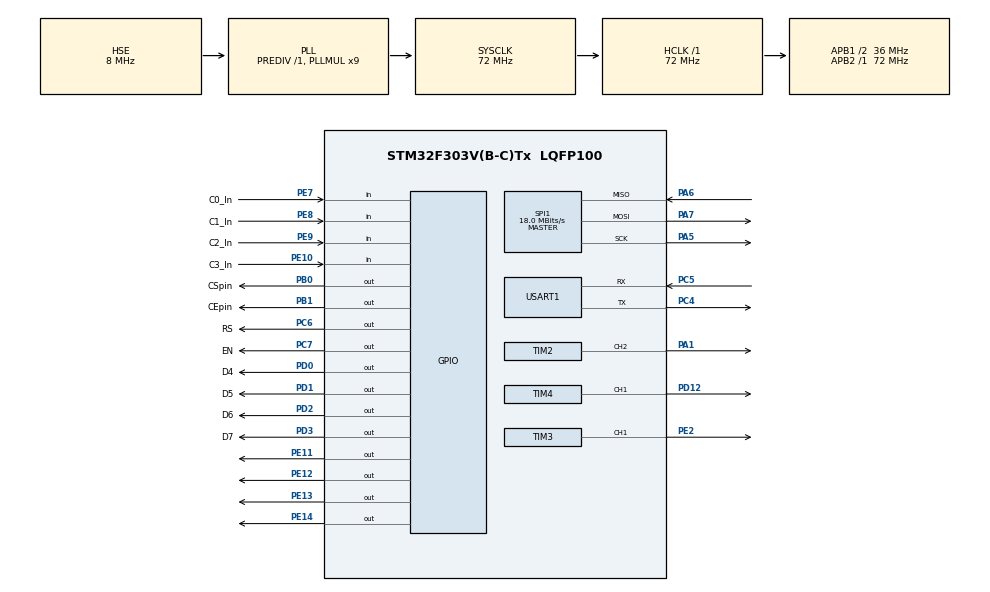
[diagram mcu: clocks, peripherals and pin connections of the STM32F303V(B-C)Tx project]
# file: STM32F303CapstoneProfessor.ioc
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Mcu.Family=STM32F3
Mcu.Name=STM32F303V(B-C)Tx
Mcu.Package=LQFP100
NVIC.PriorityGroup=NVIC_PRIORITYGROUP_0
PA1.Signal=S_TIM2_CH2
PA5.Mode=Full_Duplex_Master
PA5.Signal=SPI1_SCK
PA6.Mode=Full_Duplex_Master
PA6.Signal=SPI1_MISO
PA7.Mode=Full_Duplex_Master
PA7.Signal=SPI1_MOSI
PB0.GPIO_Label=CSpin
PB0.Signal=GPIO_Output
PB1.GPIO_Label=CEpin
PB1.Signal=GPIO_Output
PC4.Mode=Asynchronous
PC4.Signal=USART1_TX
PC5.Mode=Asynchronous
PC5.Signal=USART1_RX
PC6.GPIO_Label=RS
PC6.Signal=GPIO_Output
PC7.GPIO_Label=EN
PC7.Signal=GPIO_Output
PD0.GPIO_Label=D4
PD0.Signal=GPIO_Output
PD1.GPIO_Label=D5
PD1.Signal=GPIO_Output
PD12.Signal=S_TIM4_CH1
PD2.GPIO_Label=D6
PD2.Signal=GPIO_Output
PD3.GPIO_Label=D7
PD3.Signal=GPIO_Output
PE10.GPIO_Label=C3_In
PE10.GPIO_Mode=GPIO_MODE_INPUT
PE10.GPIO_PuPd=GPIO_PULLUP
PE10.Signal=GPIO_Input
PE11.Signal=GPIO_Output
PE12.Signal=GPIO_Output
PE13.Signal=GPIO_Output
PE14.Signal=GPIO_Output
PE2.Signal=S_TIM3_CH1
PE7.GPIO_Label=C0_In
PE7.GPIO_Mode=GPIO_MODE_INPUT
PE7.GPIO_PuPd=GPIO_PULLUP
PE7.Signal=GPIO_Input
PE8.GPIO_Label=C1_In
PE8.GPIO_Mode=GPIO_MODE_INPUT
PE8.GPIO_PuPd=GPIO_PULLUP
PE8.Signal=GPIO_Input
PE9.GPIO_Label=C2_In
PE9.GPIO_Mode=GPIO_MODE_INPUT
PE9.GPIO_PuPd=GPIO_PULLUP
PE9.Signal=GPIO_Input
PF0-OSC_IN.Mode=HSE-External-Oscillator
PF0-OSC_IN.Signal=RCC_OSC_IN
PF1-OSC_OUT.Mode=HSE-External-Oscillator
PF1-OSC_OUT.Signal=RCC_OSC_OUT
ProjectManager.HeapSize=0x200
ProjectManager.StackSize=0x400
ProjectManager.TargetToolchain=STM32CubeIDE
RCC.AHBFreq_Value=72000000
RCC.APB1CLKDivider=RCC_HCLK_DIV2
RCC.APB1Freq_Value=36000000
RCC.APB1TimFreq_Value=72000000
RCC.APB2Freq_Value=72000000
RCC.APB2TimFreq_Value=72000000
RCC.CortexFreq_Value=72000000
RCC.HCLKFreq_Value=72000000
RCC.HSE_VALUE=8000000
RCC.HSI_VALUE=8000000
RCC.LSE_VALUE=32768
RCC.PLLMUL=RCC_PLL_MUL9
RCC.PLLSourceVirtual=RCC_PLLSOURCE_HSE
RCC.SYSCLKFreq_VALUE=72000000
RCC.SYSCLKSourceVirtual=RCC_SYSCLKSOURCE_PLLCLK
RCC.USBFreq_Value=72000000
SH.S_TIM2_CH2.0=TIM2_CH2,PWM Generation2 CH2
SH.S_TIM3_CH1.0=TIM3_CH1,PWM Generation1 CH1
SH.S_TIM4_CH1.0=TIM4_CH1,PWM Generation1 CH1
SPI1.BaudRatePrescaler=SPI_BAUDRATEPRESCALER_4
SPI1.CalculateBaudRate=18.0 MBits/s
SPI1.DataSize=SPI_DATASIZE_8BIT
SPI1.Direction=SPI_DIRECTION_2LINES
SPI1.Mode=SPI_MODE_MASTER
SPI1.VirtualType=VM_MASTER
TIM15.Period=0xffff-1
TIM15.Prescaler=72-1
TIM2.Channel-PWM\ Generation2\ CH2=TIM_CHANNEL_2
TIM3.Channel-PWM\ Generation1\ CH1=TIM_CHANNEL_1
TIM4.Channel-PWM\ Generation1\ CH1=TIM_CHANNEL_1
USART1.VirtualMode-Asynchronous=VM_ASYNC
VP_TIM15_VS_ClockSourceINT.Mode=Internal
VP_TIM2_VS_ClockSourceINT.Mode=Internal
VP_TIM3_VS_ClockSourceINT.Mode=Internal
VP_TIM4_VS_ClockSourceINT.Mode=Internal
board=STM32F3DISCOVERY

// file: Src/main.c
/* USER CODE BEGIN Header */
/**
 ******************************************************************************
 * @file           : main.c Professor Unit
 * @brief          : Main program body
 ******************************************************************************
 * @attention
 *
 * <h2><center>&copy; Copyright (c) 2020 STMicroelectronics.
 * All rights reserved.</center></h2>
 *
 * This software component is licensed by ST under BSD 3-Clause license,
 * the "License"; You may not use this file except in compliance with the
 * License. You may obtain a copy of the License at:
 *                        opensource.org/licenses/BSD-3-Clause
 *
 ******************************************************************************
 */
/* USER CODE END Header */

#include "main.h"

/* USER CODE BEGIN Includes */
#include "stm32f3xx_hal.h"
#include "lcd.h"
#include "keypad.h"
#include "MY_NRF24.h"
#include <string.h>
#include <stdbool.h>
/* USER CODE END Includes */

SPI_HandleTypeDef hspi1;

TIM_HandleTypeDef htim2;
TIM_HandleTypeDef htim3;
TIM_HandleTypeDef htim4;
TIM_HandleTypeDef htim15;

UART_HandleTypeDef huart1;

void SystemClock_Config(void);
static void MX_GPIO_Init(void);
static void MX_SPI1_Init(void);
static void MX_TIM2_Init(void);
static void MX_TIM3_Init(void);
static void MX_TIM4_Init(void);
static void MX_TIM15_Init(void);
static void MX_USART1_UART_Init(void);

/* USER CODE BEGIN 0 */
void delay_us (uint16_t us)
{
	__HAL_TIM_SET_COUNTER(&htim15,0);  // set the counter value a 0
	while (__HAL_TIM_GET_COUNTER(&htim15) < us);  // wait for the counter to reach the us input in the parameter
}
/* USER CODE END 0 */

int main(void)
{
	/* USER CODE BEGIN 1 */
	uint8_t returnKey = 16;
	uint8_t menuState = 1;
	uint8_t dutyCycles[3];

	uint32_t ringDelay = 0;
	bool set = false;

	uint64_t RxPipeAddr = 0x11223344AA;
	uint64_t TxPipeAddr = 0x99887766BB;
	char RxData[34];
	char TxData[32];

	char userStatus[] = "Available";
	char userName[19] = { 0 };
	char profResponses[4][19] = {"First", "Second", "Third", "Fourth"};
	char alphabets[2][27] = { { 'a', 'b', 'c', 'd', 'e', 'f', 'g', 'h', 'i', 'j', 'k', 'l', 'm', 'n', 'o', 'p', 'q', 'r', 's', 't', 'u', 'v','w', 'x', 'y', 'z', ' ' },
			{ 'A', 'B', 'C', 'D', 'E', 'F', 'G', 'H', 'I','J', 'K', 'L', 'M', 'N', 'O', 'P', 'Q', 'R', 'S', 'T', 'U', 'V', 'W', 'X', 'Y', 'Z', ' ' } };
	/* USER CODE END 1 */

	/* MCU Configuration--------------------------------------------------------*/

	/* Reset of all peripherals, Initializes the Flash interface and the Systick. */
	HAL_Init();

	/* Configure the system clock */
	SystemClock_Config();

	/* Initialize all configured peripherals */
	MX_GPIO_Init();
	MX_SPI1_Init();
	MX_TIM2_Init();
	MX_TIM3_Init();
	MX_TIM4_Init();
	MX_TIM15_Init();
	MX_USART1_UART_Init();
	/* USER CODE BEGIN 2 */
	NRF24_begin(GPIOB, CSpin_Pin, CEpin_Pin, hspi1);
	nrf24_DebugUART_Init(huart1);
	printRadioSettings();
	NRF24_setChannel(44);
	NRF24_setPayloadSize(32);
	NRF24_openReadingPipe(1, RxPipeAddr);
	NRF24_openWritingPipe(TxPipeAddr);
	//NRF24_setAutoAck(true);
	//NRF24_enableDynamicPayloads();
	//NRF24_enableAckPayload();
	//NRF24_startListening();

	HAL_TIM_Base_Start(&htim15);

	Lcd_PortType ports[] = {D4_GPIO_Port, D5_GPIO_Port, D6_GPIO_Port, D7_GPIO_Port};
	Lcd_PinType pins[] = {D4_Pin, D5_Pin, D6_Pin, D7_Pin};
	Lcd_HandleTypeDef lcd = Lcd_create(ports, pins, RS_GPIO_Port, RS_Pin, EN_GPIO_Port, EN_Pin, LCD_4_BIT_MODE);

	void resetAll()
	{
		ringDelay = 0;
		Lcd_clear(&lcd);
		set = false;
	}

	void txData()
	{
		NRF24_stopListening();

		if(NRF24_write(TxData, 32))
		{
			HAL_UART_Transmit(&huart1, (uint8_t *)"\r\nTransmitted Successfully!\r\n", strlen("\r\nTransmitted Successfully!\r\n"), 10);

			HAL_UART_Transmit(&huart1, (uint8_t *)TxData, strlen(TxData), 10);
		}else
		{
			HAL_UART_Transmit(&huart1, (uint8_t *)"\r\nTransmitted Un-successfully!\r\n", strlen("\r\nTransmitted Un-successfully!\r\n"), 10);
		}
	}

	void responseScreen()
	{
		while(/*HAL_GetTick() < (ringDelay + 10000)*/ returnKey != 0 && returnKey != 1 && returnKey != 2)
		{
			if(!set){
				Lcd_string(&lcd, "1.");
				Lcd_string(&lcd, profResponses[0]);
				Lcd_cursor(&lcd, 1, 0);
				Lcd_string(&lcd, "2.");
				Lcd_string(&lcd, profResponses[1]);
				Lcd_cursor(&lcd, 2, 0);
				Lcd_string(&lcd, "3.");
				Lcd_string(&lcd, profResponses[2]);
				//Lcd_cursor(&lcd, 3, 0);
				//Lcd_string(&lcd, "4.Dismiss");
				set = true;
			}

			returnKey = keypadRead();

			switch (returnKey)
			{
			case 0:
				strcpy(TxData, profResponses[0]);
				txData();
				break;

			case 1:
				strcpy(TxData, profResponses[1]);
				txData();
				break;

			case 2:
				strcpy(TxData, profResponses[2]);
				txData();
				break;

			default:
				//Lcd_string(&lcd, "Wrong");
				break;
			}
		}
		resetAll();
	}

	void rxData()
	{
		NRF24_startListening();

		if(NRF24_available())
		{
			memset(RxData, 0, 34);
			NRF24_read(RxData, 32);

			RxData[32] = '\r';
			RxData[32+1] = '\n';
			HAL_UART_Transmit(&huart1, (uint8_t *)RxData, 32+2, 10);

			resetAll();
			responseScreen();
		}
	}
	/* USER CODE END 2 */

	/* Infinite loop */
	/* USER CODE BEGIN WHILE */
	Lcd_clear(&lcd);
	while (1) {

		memset(TxData, 0, 32);

		//Main menu
		if (menuState == 1)
		{
			if(!set){
				Lcd_string(&lcd, "1.Settings 2.Status");
				set = true;
			}

			//resetAll();
			//responseScreen();
			rxData();

			returnKey = keypadRead();

			switch (returnKey)
			{
			case 0:
				menuState = 11;
				resetAll();
				break;

			case 1:
				menuState = 12;
				resetAll();
				break;

			default:
				//Lcd_string(&lcd, "Wrong");
				break;
			}
		}

		//Settings Menu
		if (menuState == 11)
		{
			if(!set){
				Lcd_cursor(&lcd, 0, 4);
				Lcd_string(&lcd, "Customize...");
				Lcd_cursor(&lcd, 1, 0);
				Lcd_string(&lcd, "1.Buzzer 2.Vibration");
				Lcd_cursor(&lcd, 2, 0);
				Lcd_string(&lcd, "3.LED    4.Name");
				Lcd_cursor(&lcd, 3, 0);
				Lcd_string(&lcd, "5.Call Response");
				set = true;
			}

			returnKey = keypadRead();

			switch (returnKey)
			{
			case 0:
				menuState = 111;
				resetAll();
				break;

			case 1:
				menuState = 112;
				resetAll();
				break;

			case 2:
				menuState = 113;
				resetAll();
				break;

			case 4:
				menuState = 114;
				resetAll();
				break;

			case 5:
				menuState = 115;
				resetAll();
				break;

			case 7:
				menuState = 1;
				resetAll();
				break;

			default:
				//Lcd_string(&lcd, "Wrong");
				break;
			}
		}

		//Buzzer Menu
		if (menuState == 111)
		{
			Lcd_string(&lcd, "Buzzer");

			htim2.Instance->CCR2 = dutyCycles[0]; //% Duty Cycle
			//__HAL_TIM_SET_AUTORELOAD(&htim2, dutyCycles[]);
			//__HAL_TIM_SET_AUTORELOAD(&htim2, 7200);

			returnKey = keypadRead();

			switch (returnKey) {
			case 3:
				if(dutyCycles[0] < 50)
				{
					dutyCycles[0] += 10;
					Lcd_cursor(&lcd, 2, 8);
					Lcd_int(&lcd, dutyCycles[0]);
				}else
				{
					Lcd_cursor(&lcd, 1, 1);
					Lcd_string(&lcd, "Cannot go higher!");
					Lcd_cursor(&lcd, 2, 8);
					Lcd_int(&lcd, dutyCycles[0]);
				}
				break;

			case 15:
				if (dutyCycles[0] > 0) {
					dutyCycles[0] -= 10;
					Lcd_cursor(&lcd, 2, 8);
					Lcd_int(&lcd, dutyCycles[0]);
				}else
				{
					Lcd_cursor(&lcd, 1, 2);
					Lcd_string(&lcd, "Cannot go lower!");
					Lcd_cursor(&lcd, 2, 8);
					Lcd_int(&lcd, dutyCycles[0]);
				}
				break;

			case 7:
				htim2.Instance->CCR2 = 0; //% Duty Cycle
				menuState = 11;
				resetAll();
				break;

			default:
				break;
			}
		}

		//Vibration Menu
		if (menuState == 112)
		{
			Lcd_string(&lcd, "Vibration");

			htim3.Instance->CCR1 = dutyCycles[1]; //% Duty Cycle

			returnKey = keypadRead();

			switch (returnKey) {
			case 3:
				if(dutyCycles[1] < 90)
				{
					dutyCycles[1] += 10;
					Lcd_cursor(&lcd, 2, 8);
					Lcd_int(&lcd, dutyCycles[1]);
				}else
				{
					Lcd_cursor(&lcd, 1, 1);
					Lcd_string(&lcd, "Cannot go higher!");
					Lcd_cursor(&lcd, 2, 8);
					Lcd_int(&lcd, dutyCycles[1]);
				}
				break;

			case 15:
				if (dutyCycles[1] > 0) {
					dutyCycles[1] -= 10;
					Lcd_cursor(&lcd, 2, 8);
					Lcd_int(&lcd, dutyCycles[1]);
				}else
				{
					Lcd_cursor(&lcd, 1, 2);
					Lcd_string(&lcd, "Cannot go lower!");
					Lcd_cursor(&lcd, 2, 8);
					Lcd_int(&lcd, dutyCycles[1]);
				}
				break;

			case 7:
				htim3.Instance->CCR1 = 0; //% Duty Cycle
				menuState = 11;
				resetAll();
				break;

			default:
				break;
			}
		}

		//LED Menu
		if (menuState == 113)
		{
			Lcd_string(&lcd, "LED");

			htim4.Instance->CCR1 = dutyCycles[2]; //% Duty Cycle

			returnKey = keypadRead();

			switch (returnKey) {
			case 3:
				if(dutyCycles[2] < 100)
				{
					dutyCycles[2] += 10;
					Lcd_cursor(&lcd, 2, 8);
					Lcd_int(&lcd, dutyCycles[2]);
				}else
				{
					Lcd_cursor(&lcd, 1, 1);
					Lcd_string(&lcd, "Cannot go higher!");
					Lcd_cursor(&lcd, 2, 8);
					Lcd_int(&lcd, dutyCycles[2]);
				}
				break;

			case 15:
				if (dutyCycles[2] > 0) {
					dutyCycles[2] -= 10;
					Lcd_cursor(&lcd, 2, 8);
					Lcd_int(&lcd, dutyCycles[2]);
				}else
				{
					Lcd_cursor(&lcd, 1, 2);
					Lcd_string(&lcd, "Cannot go lower!");
					Lcd_cursor(&lcd, 2, 8);
					Lcd_int(&lcd, dutyCycles[2]);
				}
				break;

			case 7:
				htim4.Instance->CCR1 = 0; //% Duty Cycle
				menuState = 11;
				resetAll();
				break;

			default:
				break;
			}
		}

		//Name Menu
		if (menuState == 114)
		{
			int8_t alphaRow = 1;
			int8_t alphaCol = 0;
			int8_t namePos = 0;
			int8_t cursorCol = 1;

			Lcd_clear(&lcd);
			Lcd_string(&lcd, "Name");
			Lcd_cursor(&lcd, 2, 1);
			Lcd_char(&lcd, alphabets[alphaRow][alphaCol]);

			do{
				Lcd_cursor(&lcd, 3, 1);
				Lcd_string(&lcd, userName);

				returnKey = keypadRead();

				switch (returnKey) {
				//Alphabet Increase
				case 1:
					alphaCol++;
					if(alphaCol > 26)
					{
						alphaCol = 0;
					}

					Lcd_cursor(&lcd, 2, cursorCol);
					Lcd_char(&lcd, alphabets[alphaRow][alphaCol]);
					//HAL_Delay(300);
					break;

					//Alphabet Caps
				case 4:
					alphaRow++;
					if(alphaRow > 1)
					{
						alphaRow = 0;
					}

					Lcd_cursor(&lcd, 2, cursorCol);
					Lcd_char(&lcd, alphabets[alphaRow][alphaCol]);
					//HAL_Delay(300);
					break;

					//Char parse
				case 5:
					if(namePos <= 17)
					{
						//Store letter in name array
						userName[namePos] = alphabets[alphaRow][alphaCol];
						namePos++;

						//Dont let cursor exceed 18 chars
						if (cursorCol < 18)
						{
							cursorCol++;
						}
						alphaCol = 0;
						alphaRow = 0;

						//Move cursor over one and reset alphabet
						Lcd_cursor(&lcd, 2, cursorCol);
						Lcd_char(&lcd, alphabets[alphaRow][alphaCol]);
						//HAL_Delay(300);
					}else
					{
						//Dont let username exceed 18 chars
						Lcd_cursor(&lcd, 3, 0);
						Lcd_string(&lcd, "    Max letters!    ");
						HAL_Delay(750);
					}
					break;

					//Alphabet Caps
				case 6:
					alphaRow--;
					if(alphaRow < 0)
					{
						alphaRow = 1;
					}

					Lcd_cursor(&lcd, 2, cursorCol);
					Lcd_char(&lcd, alphabets[alphaRow][alphaCol]);
					//HAL_Delay(300);
					break;

					//Alphabet Decrease
				case 9:
					alphaCol--;
					if(alphaCol < 0)
					{
						alphaCol = 26;
					}

					Lcd_cursor(&lcd, 2, cursorCol);
					Lcd_char(&lcd, alphabets[alphaRow][alphaCol]);
					//HAL_Delay(300);
					break;

					//Clear Username
				case 11:
					for (int k = 0; k < sizeof(userName); k++)
					{
						userName[k] = ' ';
					}

					alphaRow = 1;
					alphaCol = 0;
					namePos = 0;
					cursorCol = 1;

					Lcd_cursor(&lcd, 3, 0);
					Lcd_string(&lcd, "                    ");

					Lcd_cursor(&lcd, 2, cursorCol);
					Lcd_string(&lcd, "                    ");
					Lcd_cursor(&lcd, 2, cursorCol);
					Lcd_char(&lcd, alphabets[alphaRow][alphaCol]);
					//HAL_Delay(300);
					break;

					//"Backspace"
				case 15:
					if(namePos > 0)
					{
						userName[namePos-1] = ' ';
						namePos -= 1;
						cursorCol -= 1;
						alphaRow = 1;
						alphaCol = 0;

						Lcd_cursor(&lcd, 2, cursorCol+1);
						Lcd_char(&lcd, ' ');
						Lcd_cursor(&lcd, 2, cursorCol);
						Lcd_char(&lcd, alphabets[alphaRow][alphaCol]);
						//HAL_Delay(300);
					}
					break;

					//Back
				case 7:
					menuState = 11;
					resetAll();
					break;

				default:
					break;
				}
			}while(menuState != 11);
		}

		//Call Response edit menu
		if(menuState == 115)
		{
			int8_t alphaRow = 1;
			int8_t alphaCol = 0;
			int8_t namePos = 0;
			int8_t cursorCol = 1;
			int8_t chosen = -1;

			if(!set)
			{
				Lcd_cursor(&lcd, 0, 1);
				Lcd_string(&lcd, "Choose to edit...");
				Lcd_cursor(&lcd, 1, 0);
				Lcd_string(&lcd, "1.");
				Lcd_string(&lcd, profResponses[0]);
				Lcd_cursor(&lcd, 2, 0);
				Lcd_string(&lcd, "2.");
				Lcd_string(&lcd, profResponses[1]);
				Lcd_cursor(&lcd, 3, 0);
				Lcd_string(&lcd, "3.");
				Lcd_string(&lcd, profResponses[2]);
				set = true;
			}

			returnKey = keypadRead();

			switch (returnKey) {

			//Response 1
			case 0:
				chosen = 0;
				resetAll();
				break;

				//Response 2
			case 1:
				chosen = 1;
				resetAll();
				break;

				//Response 3
			case 2:
				chosen = 2;
				resetAll();
				break;

				//Back
			case 7:
				menuState = 11;
				resetAll();
				break;

			}

			while(chosen != -1){

				if(!set){
					Lcd_cursor(&lcd, 0, 5);
					Lcd_string(&lcd, "Response ");
					Lcd_int(&lcd, chosen + 1);
					Lcd_cursor(&lcd, 2, 1);
					Lcd_char(&lcd, alphabets[alphaRow][alphaCol]);
					set = true;
				}

				returnKey = keypadRead();

				switch (returnKey) {
				//Alphabet Increase
				case 1:
					alphaCol++;
					if(alphaCol > 26)
					{
						alphaCol = 0;
					}

					Lcd_cursor(&lcd, 2, cursorCol);
					Lcd_char(&lcd, alphabets[alphaRow][alphaCol]);
					//HAL_Delay(300);
					break;

					//Alphabet Caps
				case 4:
					alphaRow++;
					if(alphaRow > 1)
					{
						alphaRow = 0;
					}

					Lcd_cursor(&lcd, 2, cursorCol);
					Lcd_char(&lcd, alphabets[alphaRow][alphaCol]);
					//HAL_Delay(300);
					break;

					//Char parse
				case 5:
					if(namePos <= 17)
					{
						//Store letter in name array
						profResponses[chosen][namePos] = alphabets[alphaRow][alphaCol];
						namePos++;

						//Dont let cursor exceed 18 chars
						if (cursorCol < 18)
						{
							cursorCol++;
						}
						alphaCol = 0;
						alphaRow = 0;

						//Move cursor over one and reset alphabet
						Lcd_cursor(&lcd, 2, cursorCol);
						Lcd_char(&lcd, alphabets[alphaRow][alphaCol]);
						//HAL_Delay(300);
					}else
					{
						//Dont let username exceed 18 chars
						Lcd_cursor(&lcd, 3, 0);
						Lcd_string(&lcd, "    Max letters!    ");
						HAL_Delay(750);
					}
					break;

					//Alphabet Caps
				case 6:
					alphaRow--;
					if(alphaRow < 0)
					{
						alphaRow = 1;
					}

					Lcd_cursor(&lcd, 2, cursorCol);
					Lcd_char(&lcd, alphabets[alphaRow][alphaCol]);
					//HAL_Delay(300);
					break;

					//Alphabet Decrease
				case 9:
					alphaCol--;
					if(alphaCol < 0)
					{
						alphaCol = 26;
					}

					Lcd_cursor(&lcd, 2, cursorCol);
					Lcd_char(&lcd, alphabets[alphaRow][alphaCol]);
					//HAL_Delay(300);
					break;

					//Clear
				case 11:

					memset(profResponses[chosen], 0, 19);

					alphaRow = 1;
					alphaCol = 0;
					namePos = 0;
					cursorCol = 1;

					Lcd_cursor(&lcd, 3, 0);
					Lcd_string(&lcd, "                    ");

					Lcd_cursor(&lcd, 2, cursorCol);
					Lcd_string(&lcd, "                    ");
					Lcd_cursor(&lcd, 2, cursorCol);
					Lcd_char(&lcd, alphabets[alphaRow][alphaCol]);
					//HAL_Delay(300);
					break;

					//"Backspace"
				case 15:
					if(namePos > 0)
					{
						profResponses[chosen][namePos-1] = ' ';
						namePos -= 1;
						cursorCol -= 1;
						alphaRow = 1;
						alphaCol = 0;

						Lcd_cursor(&lcd, 2, cursorCol+1);
						Lcd_char(&lcd, ' ');
						Lcd_cursor(&lcd, 2, cursorCol);
						Lcd_char(&lcd, alphabets[alphaRow][alphaCol]);
						//HAL_Delay(300);
					}
					break;

					//Back
				case 7:
					menuState = 115;
					chosen = -1;
					resetAll();
					break;

				default:
					break;
				}
			}
		}

		//Status Menu
		if(menuState == 12)
		{
			Lcd_cursor(&lcd, 0, 4);
			Lcd_string(&lcd, "Pick Status");
			Lcd_cursor(&lcd, 1, 0);
			Lcd_string(&lcd, "1.Available  2.Busy");
			Lcd_cursor(&lcd, 2, 0);
			Lcd_string(&lcd, "3.Away");
			Lcd_cursor(&lcd, 3, 0);
			Lcd_string(&lcd, "Current: ");
			Lcd_cursor(&lcd, 3, 9);
			Lcd_string(&lcd, userStatus);

			returnKey = keypadRead();

			switch (returnKey) {
			case 0:
				strcpy(userStatus, "Available");
				menuState = 1;
				resetAll();
				break;

			case 1:
				strcpy(userStatus, "Busy");
				menuState = 1;
				resetAll();
				break;

			case 2:
				strcpy(userStatus, "Away");
				menuState = 1;
				resetAll();
				break;

			case 4:

				break;

			case 7:
				menuState = 1;
				resetAll();
				break;

			default:
				break;
			}
		}
		/* USER CODE END WHILE */

	}
}

void SystemClock_Config(void)
{
	RCC_OscInitTypeDef RCC_OscInitStruct = {0};
	RCC_ClkInitTypeDef RCC_ClkInitStruct = {0};
	RCC_PeriphCLKInitTypeDef PeriphClkInit = {0};

	/** Initializes the CPU, AHB and APB busses clocks
	 */
	RCC_OscInitStruct.OscillatorType = RCC_OSCILLATORTYPE_HSE;
	RCC_OscInitStruct.HSEState = RCC_HSE_ON;
	RCC_OscInitStruct.HSEPredivValue = RCC_HSE_PREDIV_DIV1;
	RCC_OscInitStruct.HSIState = RCC_HSI_ON;
	RCC_OscInitStruct.PLL.PLLState = RCC_PLL_ON;
	RCC_OscInitStruct.PLL.PLLSource = RCC_PLLSOURCE_HSE;
	RCC_OscInitStruct.PLL.PLLMUL = RCC_PLL_MUL9;
	if (HAL_RCC_OscConfig(&RCC_OscInitStruct) != HAL_OK)
	{
		Error_Handler();
	}
	/** Initializes the CPU, AHB and APB busses clocks
	 */
	RCC_ClkInitStruct.ClockType = RCC_CLOCKTYPE_HCLK|RCC_CLOCKTYPE_SYSCLK
			|RCC_CLOCKTYPE_PCLK1|RCC_CLOCKTYPE_PCLK2;
	RCC_ClkInitStruct.SYSCLKSource = RCC_SYSCLKSOURCE_PLLCLK;
	RCC_ClkInitStruct.AHBCLKDivider = RCC_SYSCLK_DIV1;
	RCC_ClkInitStruct.APB1CLKDivider = RCC_HCLK_DIV2;
	RCC_ClkInitStruct.APB2CLKDivider = RCC_HCLK_DIV1;

	if (HAL_RCC_ClockConfig(&RCC_ClkInitStruct, FLASH_LATENCY_2) != HAL_OK)
	{
		Error_Handler();
	}
	PeriphClkInit.PeriphClockSelection = RCC_PERIPHCLK_USART1;
	PeriphClkInit.Usart1ClockSelection = RCC_USART1CLKSOURCE_PCLK2;
	if (HAL_RCCEx_PeriphCLKConfig(&PeriphClkInit) != HAL_OK)
	{
		Error_Handler();
	}
}

static void MX_SPI1_Init(void)
{

	/* SPI1 parameter configuration*/
	hspi1.Instance = SPI1;
	hspi1.Init.Mode = SPI_MODE_MASTER;
	hspi1.Init.Direction = SPI_DIRECTION_2LINES;
	hspi1.Init.DataSize = SPI_DATASIZE_8BIT;
	hspi1.Init.CLKPolarity = SPI_POLARITY_LOW;
	hspi1.Init.CLKPhase = SPI_PHASE_1EDGE;
	hspi1.Init.NSS = SPI_NSS_SOFT;
	hspi1.Init.BaudRatePrescaler = SPI_BAUDRATEPRESCALER_4;
	hspi1.Init.FirstBit = SPI_FIRSTBIT_MSB;
	hspi1.Init.TIMode = SPI_TIMODE_DISABLE;
	hspi1.Init.CRCCalculation = SPI_CRCCALCULATION_DISABLE;
	hspi1.Init.CRCPolynomial = 7;
	hspi1.Init.CRCLength = SPI_CRC_LENGTH_DATASIZE;
	hspi1.Init.NSSPMode = SPI_NSS_PULSE_ENABLE;
	if (HAL_SPI_Init(&hspi1) != HAL_OK)
	{
		Error_Handler();
	}

}

static void MX_TIM2_Init(void)
{

	TIM_ClockConfigTypeDef sClockSourceConfig = {0};
	TIM_MasterConfigTypeDef sMasterConfig = {0};
	TIM_OC_InitTypeDef sConfigOC = {0};

	htim2.Instance = TIM2;
	htim2.Init.Prescaler = 0;
	htim2.Init.CounterMode = TIM_COUNTERMODE_UP;
	htim2.Init.Period = 0;
	htim2.Init.ClockDivision = TIM_CLOCKDIVISION_DIV1;
	htim2.Init.AutoReloadPreload = TIM_AUTORELOAD_PRELOAD_DISABLE;
	if (HAL_TIM_Base_Init(&htim2) != HAL_OK)
	{
		Error_Handler();
	}
	sClockSourceConfig.ClockSource = TIM_CLOCKSOURCE_INTERNAL;
	if (HAL_TIM_ConfigClockSource(&htim2, &sClockSourceConfig) != HAL_OK)
	{
		Error_Handler();
	}
	if (HAL_TIM_PWM_Init(&htim2) != HAL_OK)
	{
		Error_Handler();
	}
	sMasterConfig.MasterOutputTrigger = TIM_TRGO_RESET;
	sMasterConfig.MasterSlaveMode = TIM_MASTERSLAVEMODE_DISABLE;
	if (HAL_TIMEx_MasterConfigSynchronization(&htim2, &sMasterConfig) != HAL_OK)
	{
		Error_Handler();
	}
	sConfigOC.OCMode = TIM_OCMODE_PWM1;
	sConfigOC.Pulse = 0;
	sConfigOC.OCPolarity = TIM_OCPOLARITY_HIGH;
	sConfigOC.OCFastMode = TIM_OCFAST_DISABLE;
	if (HAL_TIM_PWM_ConfigChannel(&htim2, &sConfigOC, TIM_CHANNEL_2) != HAL_OK)
	{
		Error_Handler();
	}
	HAL_TIM_MspPostInit(&htim2);

}

static void MX_TIM3_Init(void)
{

	TIM_ClockConfigTypeDef sClockSourceConfig = {0};
	TIM_MasterConfigTypeDef sMasterConfig = {0};
	TIM_OC_InitTypeDef sConfigOC = {0};

	htim3.Instance = TIM3;
	htim3.Init.Prescaler = 0;
	htim3.Init.CounterMode = TIM_COUNTERMODE_UP;
	htim3.Init.Period = 0;
	htim3.Init.ClockDivision = TIM_CLOCKDIVISION_DIV1;
	htim3.Init.AutoReloadPreload = TIM_AUTORELOAD_PRELOAD_DISABLE;
	if (HAL_TIM_Base_Init(&htim3) != HAL_OK)
	{
		Error_Handler();
	}
	sClockSourceConfig.ClockSource = TIM_CLOCKSOURCE_INTERNAL;
	if (HAL_TIM_ConfigClockSource(&htim3, &sClockSourceConfig) != HAL_OK)
	{
		Error_Handler();
	}
	if (HAL_TIM_PWM_Init(&htim3) != HAL_OK)
	{
		Error_Handler();
	}
	sMasterConfig.MasterOutputTrigger = TIM_TRGO_RESET;
	sMasterConfig.MasterSlaveMode = TIM_MASTERSLAVEMODE_DISABLE;
	if (HAL_TIMEx_MasterConfigSynchronization(&htim3, &sMasterConfig) != HAL_OK)
	{
		Error_Handler();
	}
	sConfigOC.OCMode = TIM_OCMODE_PWM1;
	sConfigOC.Pulse = 0;
	sConfigOC.OCPolarity = TIM_OCPOLARITY_HIGH;
	sConfigOC.OCFastMode = TIM_OCFAST_DISABLE;
	if (HAL_TIM_PWM_ConfigChannel(&htim3, &sConfigOC, TIM_CHANNEL_1) != HAL_OK)
	{
		Error_Handler();
	}
	HAL_TIM_MspPostInit(&htim3);

}

static void MX_TIM4_Init(void)
{

	TIM_ClockConfigTypeDef sClockSourceConfig = {0};
	TIM_MasterConfigTypeDef sMasterConfig = {0};
	TIM_OC_InitTypeDef sConfigOC = {0};

	htim4.Instance = TIM4;
	htim4.Init.Prescaler = 0;
	htim4.Init.CounterMode = TIM_COUNTERMODE_UP;
	htim4.Init.Period = 0;
	htim4.Init.ClockDivision = TIM_CLOCKDIVISION_DIV1;
	htim4.Init.AutoReloadPreload = TIM_AUTORELOAD_PRELOAD_DISABLE;
	if (HAL_TIM_Base_Init(&htim4) != HAL_OK)
	{
		Error_Handler();
	}
	sClockSourceConfig.ClockSource = TIM_CLOCKSOURCE_INTERNAL;
	if (HAL_TIM_ConfigClockSource(&htim4, &sClockSourceConfig) != HAL_OK)
	{
		Error_Handler();
	}
	if (HAL_TIM_PWM_Init(&htim4) != HAL_OK)
	{
		Error_Handler();
	}
	sMasterConfig.MasterOutputTrigger = TIM_TRGO_RESET;
	sMasterConfig.MasterSlaveMode = TIM_MASTERSLAVEMODE_DISABLE;
	if (HAL_TIMEx_MasterConfigSynchronization(&htim4, &sMasterConfig) != HAL_OK)
	{
		Error_Handler();
	}
	sConfigOC.OCMode = TIM_OCMODE_PWM1;
	sConfigOC.Pulse = 0;
	sConfigOC.OCPolarity = TIM_OCPOLARITY_HIGH;
	sConfigOC.OCFastMode = TIM_OCFAST_DISABLE;
	if (HAL_TIM_PWM_ConfigChannel(&htim4, &sConfigOC, TIM_CHANNEL_1) != HAL_OK)
	{
		Error_Handler();
	}
	HAL_TIM_MspPostInit(&htim4);

}

static void MX_TIM15_Init(void)
{

	TIM_ClockConfigTypeDef sClockSourceConfig = {0};
	TIM_MasterConfigTypeDef sMasterConfig = {0};

	htim15.Instance = TIM15;
	htim15.Init.Prescaler = 72-1;
	htim15.Init.CounterMode = TIM_COUNTERMODE_UP;
	htim15.Init.Period = 0xffff-1;
	htim15.Init.ClockDivision = TIM_CLOCKDIVISION_DIV1;
	htim15.Init.RepetitionCounter = 0;
	htim15.Init.AutoReloadPreload = TIM_AUTORELOAD_PRELOAD_DISABLE;
	if (HAL_TIM_Base_Init(&htim15) != HAL_OK)
	{
		Error_Handler();
	}
	sClockSourceConfig.ClockSource = TIM_CLOCKSOURCE_INTERNAL;
	if (HAL_TIM_ConfigClockSource(&htim15, &sClockSourceConfig) != HAL_OK)
	{
		Error_Handler();
	}
	sMasterConfig.MasterOutputTrigger = TIM_TRGO_RESET;
	sMasterConfig.MasterSlaveMode = TIM_MASTERSLAVEMODE_DISABLE;
	if (HAL_TIMEx_MasterConfigSynchronization(&htim15, &sMasterConfig) != HAL_OK)
	{
		Error_Handler();
	}

}

static void MX_USART1_UART_Init(void)
{

	huart1.Instance = USART1;
	huart1.Init.BaudRate = 38400;
	huart1.Init.WordLength = UART_WORDLENGTH_8B;
	huart1.Init.StopBits = UART_STOPBITS_1;
	huart1.Init.Parity = UART_PARITY_NONE;
	huart1.Init.Mode = UART_MODE_TX_RX;
	huart1.Init.HwFlowCtl = UART_HWCONTROL_NONE;
	huart1.Init.OverSampling = UART_OVERSAMPLING_16;
	huart1.Init.OneBitSampling = UART_ONE_BIT_SAMPLE_DISABLE;
	huart1.AdvancedInit.AdvFeatureInit = UART_ADVFEATURE_NO_INIT;
	if (HAL_UART_Init(&huart1) != HAL_OK)
	{
		Error_Handler();
	}

}

static void MX_GPIO_Init(void)
{
	GPIO_InitTypeDef GPIO_InitStruct = {0};

	/* GPIO Ports Clock Enable */
	__HAL_RCC_GPIOE_CLK_ENABLE();
	__HAL_RCC_GPIOF_CLK_ENABLE();
	__HAL_RCC_GPIOA_CLK_ENABLE();
	__HAL_RCC_GPIOC_CLK_ENABLE();
	__HAL_RCC_GPIOB_CLK_ENABLE();
	__HAL_RCC_GPIOD_CLK_ENABLE();

	/*Configure GPIO pin Output Level */
	HAL_GPIO_WritePin(GPIOB, CSpin_Pin|CEpin_Pin, GPIO_PIN_RESET);

	/*Configure GPIO pin Output Level */
	HAL_GPIO_WritePin(GPIOE, GPIO_PIN_11|GPIO_PIN_12|GPIO_PIN_13|GPIO_PIN_14, GPIO_PIN_RESET);

	/*Configure GPIO pin Output Level */
	HAL_GPIO_WritePin(GPIOC, RS_Pin|EN_Pin, GPIO_PIN_RESET);

	/*Configure GPIO pin Output Level */
	HAL_GPIO_WritePin(GPIOD, D4_Pin|D5_Pin|D6_Pin|D7_Pin, GPIO_PIN_RESET);

	/*Configure GPIO pins : CSpin_Pin CEpin_Pin */
	GPIO_InitStruct.Pin = CSpin_Pin|CEpin_Pin;
	GPIO_InitStruct.Mode = GPIO_MODE_OUTPUT_PP;
	GPIO_InitStruct.Pull = GPIO_NOPULL;
	GPIO_InitStruct.Speed = GPIO_SPEED_FREQ_LOW;
	HAL_GPIO_Init(GPIOB, &GPIO_InitStruct);

	/*Configure GPIO pins : C0_In_Pin C1_In_Pin C2_In_Pin C3_In_Pin */
	GPIO_InitStruct.Pin = C0_In_Pin|C1_In_Pin|C2_In_Pin|C3_In_Pin;
	GPIO_InitStruct.Mode = GPIO_MODE_INPUT;
	GPIO_InitStruct.Pull = GPIO_PULLUP;
	HAL_GPIO_Init(GPIOE, &GPIO_InitStruct);

	/*Configure GPIO pins : PE11 PE12 PE13 PE14 */
	GPIO_InitStruct.Pin = GPIO_PIN_11|GPIO_PIN_12|GPIO_PIN_13|GPIO_PIN_14;
	GPIO_InitStruct.Mode = GPIO_MODE_OUTPUT_PP;
	GPIO_InitStruct.Pull = GPIO_NOPULL;
	GPIO_InitStruct.Speed = GPIO_SPEED_FREQ_LOW;
	HAL_GPIO_Init(GPIOE, &GPIO_InitStruct);

	/*Configure GPIO pins : RS_Pin EN_Pin */
	GPIO_InitStruct.Pin = RS_Pin|EN_Pin;
	GPIO_InitStruct.Mode = GPIO_MODE_OUTPUT_PP;
	GPIO_InitStruct.Pull = GPIO_NOPULL;
	GPIO_InitStruct.Speed = GPIO_SPEED_FREQ_LOW;
	HAL_GPIO_Init(GPIOC, &GPIO_InitStruct);

	/*Configure GPIO pins : D4_Pin D5_Pin D6_Pin D7_Pin */
	GPIO_InitStruct.Pin = D4_Pin|D5_Pin|D6_Pin|D7_Pin;
	GPIO_InitStruct.Mode = GPIO_MODE_OUTPUT_PP;
	GPIO_InitStruct.Pull = GPIO_NOPULL;
	GPIO_InitStruct.Speed = GPIO_SPEED_FREQ_LOW;
	HAL_GPIO_Init(GPIOD, &GPIO_InitStruct);

}

void Error_Handler(void)
{
}

/************************ (C) COPYRIGHT STMicroelectronics *****END OF FILE****/
